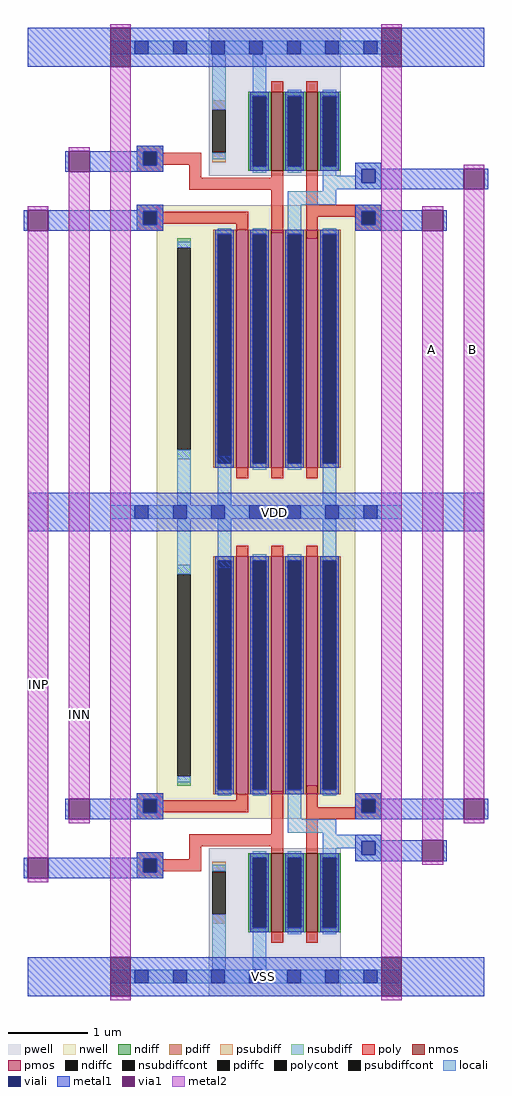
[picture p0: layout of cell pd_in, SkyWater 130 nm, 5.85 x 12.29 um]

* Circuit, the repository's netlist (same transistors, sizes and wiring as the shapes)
** sch_path: /home/mthudaa/vlsi/8bit_SAR-ADC_ITS/xschem/pd_in.sch
.subckt pd_in VDD VSS INP INN A B
*.PININFO VDD:I INP:I INN:I VSS:I A:O B:O
x1 VDD VSS INP INN B A pd_in_half
x2 VDD VSS INN INP A B pd_in_half
.ends

* expanding   symbol:  pd_in_half.sym # of pins=6
** sym_path: /home/mthudaa/vlsi/8bit_SAR-ADC_ITS/xschem/pd_in_half.sym
** sch_path: /home/mthudaa/vlsi/8bit_SAR-ADC_ITS/xschem/pd_in_half.sch
.subckt pd_in_half VDD VSS IN INB OUTB OUT
*.PININFO VDD:I IN:I INB:I VSS:I OUT:O OUTB:I
XM7 net2 IN VSS VSS sky130_fd_pr__nfet_01v8 L=0.15 W=1 nf=1 m=1
XM6 OUT OUTB net2 VSS sky130_fd_pr__nfet_01v8 L=0.15 W=1 nf=1 m=1
XM1 net1 INB VDD VDD sky130_fd_pr__pfet_01v8 L=0.15 W=3 nf=1 m=1
XM2 OUT IN net1 VDD sky130_fd_pr__pfet_01v8 L=0.15 W=3 nf=1 m=1
XM5 OUT OUTB VDD VDD sky130_fd_pr__pfet_01v8 L=0.15 W=3 nf=1 m=1
.ends

.end

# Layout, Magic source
magic
tech sky130A
magscale 1 2
<< metal1 >>
rect -608 1136 -400 1234
rect -348 1136 282 1234
rect 334 1136 542 1234
rect -514 872 -504 924
rect -452 872 -317 924
rect 283 828 490 880
rect 542 828 552 880
rect -618 723 -608 775
rect -556 723 -317 775
rect 283 723 386 775
rect 438 723 448 775
rect -608 -34 542 64
rect -514 -759 -504 -707
rect -452 -759 -317 -707
rect 283 -759 490 -707
rect 542 -759 552 -707
rect -618 -908 -608 -856
rect -556 -908 -318 -856
rect 283 -864 386 -812
rect 438 -864 448 -812
rect -608 -1204 -400 -1106
rect -348 -1204 282 -1106
rect 334 -1204 542 -1106
<< via1 >>
rect -400 1136 -348 1234
rect 282 1136 334 1234
rect -504 872 -452 924
rect 490 828 542 880
rect -608 723 -556 775
rect 386 723 438 775
rect -504 -759 -452 -707
rect 490 -759 542 -707
rect -608 -908 -556 -856
rect 386 -864 438 -812
rect -400 -1204 -348 -1106
rect 282 -1204 334 -1106
<< metal2 >>
rect -400 1234 -348 1244
rect -504 924 -452 934
rect -608 775 -556 785
rect -608 -856 -556 723
rect -504 -707 -452 872
rect -504 -769 -452 -759
rect -608 -918 -556 -908
rect -400 -1106 -348 1136
rect -400 -1214 -348 -1204
rect 282 1234 334 1244
rect 282 -1106 334 1136
rect 490 880 542 890
rect 386 775 438 785
rect 386 -812 438 723
rect 490 -707 542 828
rect 490 -769 542 -759
rect 386 -874 438 -864
rect 282 -1214 334 -1204
use pd_in_half  pd_in_half_0
transform 1 0 -496 0 -1 793
box 96 -441 830 827
use pd_in_half  pd_in_half_1
transform 1 0 -496 0 1 -763
box 96 -441 830 827
<< labels >>
flabel metal2 -596 -434 -566 -404 0 FreeSans 400 0 0 0 INP
port 0 nsew
flabel metal2 -492 -509 -462 -479 0 FreeSans 400 0 0 0 INN
port 1 nsew
flabel metal1 -2 0 28 30 0 FreeSans 400 0 0 0 VDD
port 2 nsew
flabel metal1 -30 -1169 0 -1139 0 FreeSans 400 0 0 0 VSS
port 3 nsew
flabel metal2 395 409 425 439 0 FreeSans 400 0 0 0 A
port 4 nsew
flabel metal2 498 410 528 440 0 FreeSans 400 0 0 0 B
port 5 nsew
<< end >>

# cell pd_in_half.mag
magic
tech sky130A
magscale 1 2
<< nwell >>
rect 213 707 713 827
rect 213 5 319 707
<< pwell >>
rect 344 -441 677 -69
<< psubdiff >>
rect 353 -127 387 -103
rect 353 -259 387 -235
<< nsubdiff >>
rect 265 621 299 645
rect 265 89 299 113
<< psubdiffcont >>
rect 353 -235 387 -127
<< nsubdiffcont >>
rect 265 113 299 621
<< poly >>
rect 163 54 229 70
rect 163 20 179 54
rect 213 52 229 54
rect 413 52 443 58
rect 213 22 443 52
rect 213 20 229 22
rect 163 4 229 20
rect 501 -34 531 76
rect 295 -64 531 -34
rect 589 34 619 90
rect 713 54 779 70
rect 713 34 729 54
rect 589 20 729 34
rect 763 20 779 54
rect 589 4 779 20
rect 589 -55 619 4
rect 163 -95 229 -79
rect 163 -129 179 -95
rect 213 -97 229 -95
rect 295 -97 325 -64
rect 501 -77 531 -64
rect 213 -127 325 -97
rect 213 -129 229 -127
rect 163 -145 229 -129
<< polycont >>
rect 179 20 213 54
rect 729 20 763 54
rect 179 -129 213 -95
<< locali >>
rect 96 761 158 795
rect 192 761 254 795
rect 288 761 350 795
rect 384 761 446 795
rect 480 761 542 795
rect 576 761 638 795
rect 672 761 734 795
rect 768 761 830 795
rect 265 621 299 761
rect 367 636 401 761
rect 631 671 665 761
rect 265 97 299 113
rect 163 54 229 70
rect 163 20 179 54
rect 213 20 229 54
rect 163 4 229 20
rect 543 4 577 67
rect 713 54 779 70
rect 713 20 729 54
rect 763 20 779 54
rect 713 4 779 20
rect 543 -30 665 4
rect 631 -35 665 -30
rect 631 -51 779 -35
rect 631 -69 729 -51
rect 163 -95 229 -79
rect 631 -81 665 -69
rect 163 -129 179 -95
rect 213 -129 229 -95
rect 713 -85 729 -69
rect 763 -85 779 -51
rect 713 -101 779 -85
rect 163 -145 229 -129
rect 353 -127 387 -111
rect 353 -375 387 -235
rect 455 -375 489 -285
rect 96 -409 158 -375
rect 192 -409 254 -375
rect 288 -409 350 -375
rect 384 -409 446 -375
rect 480 -409 542 -375
rect 576 -409 638 -375
rect 672 -409 734 -375
rect 768 -409 830 -375
<< viali >>
rect 158 761 192 795
rect 254 761 288 795
rect 350 761 384 795
rect 446 761 480 795
rect 542 761 576 795
rect 638 761 672 795
rect 734 761 768 795
rect 179 20 213 54
rect 729 20 763 54
rect 179 -129 213 -95
rect 729 -85 763 -51
rect 158 -409 192 -375
rect 254 -409 288 -375
rect 350 -409 384 -375
rect 446 -409 480 -375
rect 542 -409 576 -375
rect 638 -409 672 -375
rect 734 -409 768 -375
<< metal1 >>
rect 96 795 830 827
rect 96 761 158 795
rect 192 761 254 795
rect 288 761 350 795
rect 384 761 446 795
rect 480 761 542 795
rect 576 761 638 795
rect 672 761 734 795
rect 768 761 830 795
rect 96 729 830 761
rect 163 54 229 70
rect 163 20 179 54
rect 213 20 229 54
rect 163 4 229 20
rect 713 54 779 70
rect 713 20 729 54
rect 763 20 779 54
rect 713 4 779 20
rect 713 -51 779 -35
rect 163 -95 229 -79
rect 163 -129 179 -95
rect 213 -129 229 -95
rect 713 -85 729 -51
rect 763 -85 779 -51
rect 713 -101 779 -85
rect 163 -145 229 -129
rect 96 -375 830 -343
rect 96 -409 158 -375
rect 192 -409 254 -375
rect 288 -409 350 -375
rect 384 -409 446 -375
rect 480 -409 542 -375
rect 576 -409 638 -375
rect 672 -409 734 -375
rect 768 -409 830 -375
rect 96 -441 830 -409
use sky130_fd_pr__nfet_01v8_QQ7V57  sky130_fd_pr__nfet_01v8_QQ7V57_0
transform 1 0 516 0 1 -181
box -73 -126 73 126
use sky130_fd_pr__nfet_01v8_QQ7V57  sky130_fd_pr__nfet_01v8_QQ7V57_1
transform 1 0 604 0 1 -181
box -73 -126 73 126
use sky130_fd_pr__pfet_01v8_5EUKDE  sky130_fd_pr__pfet_01v8_5EUKDE_0
transform 1 0 604 0 1 367
box -109 -362 109 362
use sky130_fd_pr__pfet_01v8_5EUKDE  sky130_fd_pr__pfet_01v8_5EUKDE_1
transform 1 0 516 0 1 367
box -109 -362 109 362
use sky130_fd_pr__pfet_01v8_5EUKDE  sky130_fd_pr__pfet_01v8_5EUKDE_2
transform 1 0 428 0 1 367
box -109 -362 109 362
<< labels >>
flabel metal1 96 729 158 827 0 FreeSans 400 0 0 0 VDD
port 4 nsew
flabel metal1 96 -441 158 -343 0 FreeSans 400 0 0 0 VSS
port 5 nsew
flabel metal1 179 20 213 54 0 FreeSans 400 0 0 0 INB
port 8 nsew
flabel metal1 179 -129 213 -95 0 FreeSans 400 0 0 0 IN
port 9 nsew
flabel metal1 729 20 763 54 0 FreeSans 400 0 0 0 OUTB
port 10 nsew
flabel viali 729 -85 763 -51 0 FreeSans 400 0 0 0 OUT
port 3 nsew
<< end >>

# cell sky130_fd_pr__nfet_01v8_QQ7V57: kit device sky130_fd_pr__nfet_01v8, w 1 l 0.150 m 1 nf 1 diffcov 100 polycov 100 guard 0 glc 0 grc 0 gtc 0 gbc 0 tbcov 100 rlcov 100 topc 0 botc 0 poverlap 0 doverlap 1 lmin 0.15 wmin 0.42 compatible {sky130_fd_pr__nfet_01v8 sky130_fd_pr__nfet_01v8_lvt sky130_fd_bs_flash__special_sonosfet_star sky130_fd_pr__nfet_g5v0d10v5 sky130_fd_pr__nfet_05v0_nvt sky130_fd_pr__nfet_03v3_nvt} full_metal 0 viasrc 100 viadrn 100 viagate 100 viagb 0 viagr 0 viagl 0 viagt 0

# cell sky130_fd_pr__pfet_01v8_5EUKDE: kit device sky130_fd_pr__pfet_01v8, w 3 l 0.15 m 1 nf 1 diffcov 100 polycov 100 guard 0 glc 0 grc 0 gtc 0 gbc 0 tbcov 100 rlcov 100 topc 0 botc 0 poverlap 0 doverlap 1 lmin 0.15 wmin 0.42 compatible {sky130_fd_pr__pfet_01v8 sky130_fd_pr__pfet_01v8_lvt sky130_fd_pr__pfet_01v8_hvt sky130_fd_pr__pfet_g5v0d10v5} full_metal 0 viasrc 100 viadrn 100 viagate 100 viagb 0 viagr 0 viagl 0 viagt 0
